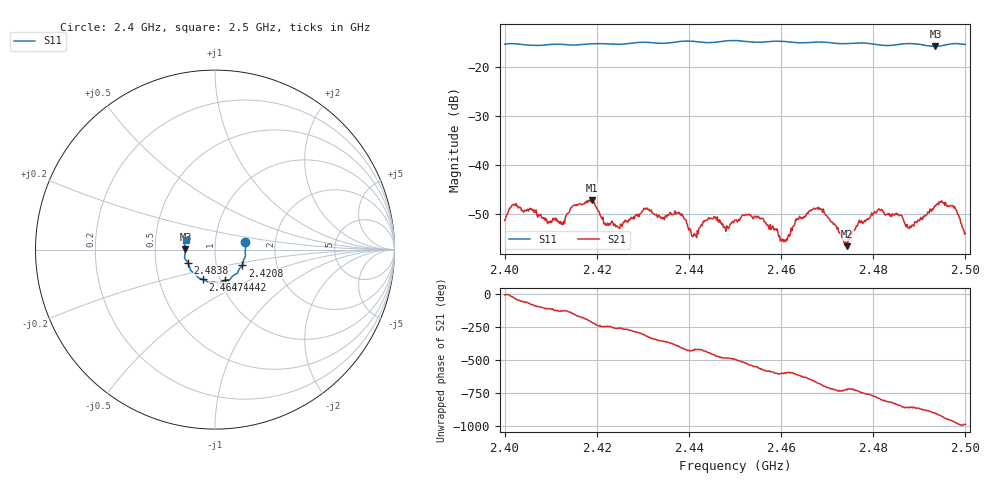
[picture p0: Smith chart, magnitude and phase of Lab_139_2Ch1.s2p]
# Hz S RI R 50
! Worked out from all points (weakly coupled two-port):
!   601 points, 2.4 GHz to 2.5 GHz, reference 50 ohm
!   highest |S21| = -47.23 dB at 2.419 GHz (marker M1); lowest = -56.7 dB at 2.4743 GHz (marker M2)
!   lowest |S11| = -15.7 dB at 2.4935 GHz (marker M3), VSWR 1.40, Z = 35.8 + j0.192 ohm
!   |S11| at or under -10 dB: start of sweep to end of sweep
!   S12 and S22 are empty: the file has one direction only
!   S11 on the Smith chart (normalised r, x): 2.4 GHz: 1.40, +0.12; 2.4208 GHz: 1.33, -0.24; 2.4442 GHz: 1.05, -0.37; 2.4647 GHz: 0.83, -0.28; 2.4838 GHz: 0.73, -0.11; 2.5 GHz: 0.71, +0.08
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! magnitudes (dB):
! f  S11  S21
! 2.4 GHz  -15.2  -51.4
! 2.4022 GHz  -15.1  -48.3
! 2.4125 GHz  -15.3  -51.9
! 2.4167 GHz  -15.3  -48.2
! 2.419 GHz  -15.1  -47.2
! 2.4208 GHz  -15.1  -50.6
! 2.4333 GHz  -15.0  -50.4
! 2.438 GHz  -14.7  -50.1
! 2.4412 GHz  -14.6  -54.1
! 2.4442 GHz  -14.9  -51.0
! 2.45 GHz  -14.5  -51.3
! 2.4555 GHz  -14.8  -51.1
! 2.4605 GHz  -14.7  -55.7
! 2.4647 GHz  -14.9  -51.0
! 2.4667 GHz  -14.8  -49.2
! 2.4743 GHz  -15.1  -56.7
! 2.4833 GHz  -15.5  -50.2
! 2.4838 GHz  -15.5  -50.2
! 2.488 GHz  -15.1  -52.5
! 2.4935 GHz  -15.7  -48.5
! 2.4975 GHz  -15.1  -48.8
! 2.5 GHz  -15.3  -54.0
